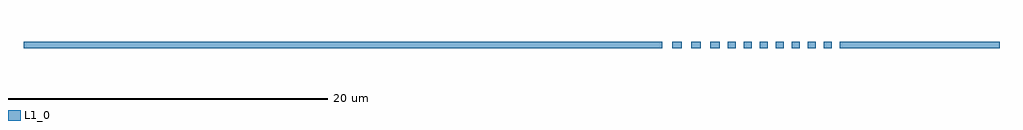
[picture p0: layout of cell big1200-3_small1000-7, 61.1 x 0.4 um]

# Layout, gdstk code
import gdstk
lib = gdstk.Library(unit=1e-6, precision=1e-09)
def R(c, l, rs):  # rectangles x0, y0, x1, y1
    for r in rs: c.add(gdstk.rectangle(r[:2], r[2:], *l))
def A(c, l, x, y, w, h, nx, ny, dx, dy):  # array of equal rectangles
    R(c, l, [(x+i*dx, y+j*dy, x+i*dx+w, y+j*dy+h) for i in range(nx) for j in range(ny)])
L1_0 = (1, 0)

big1200_3_small1000_7 = lib.new_cell('big1200-3_small1000-7')
A(big1200_3_small1000_7, L1_0, 0.6, 0, 0.6, 0.4, 3, 1, 1.2, 0)
A(big1200_3_small1000_7, L1_0, 4.1, 0, 0.5, 0.4, 7, 1, 1, 0)
R(big1200_3_small1000_7, L1_0, [(-40,0,0,0.4), (11.1,0,21.1,0.4)])

lib.write_gds('big1200-3_small1000-7.gds')
